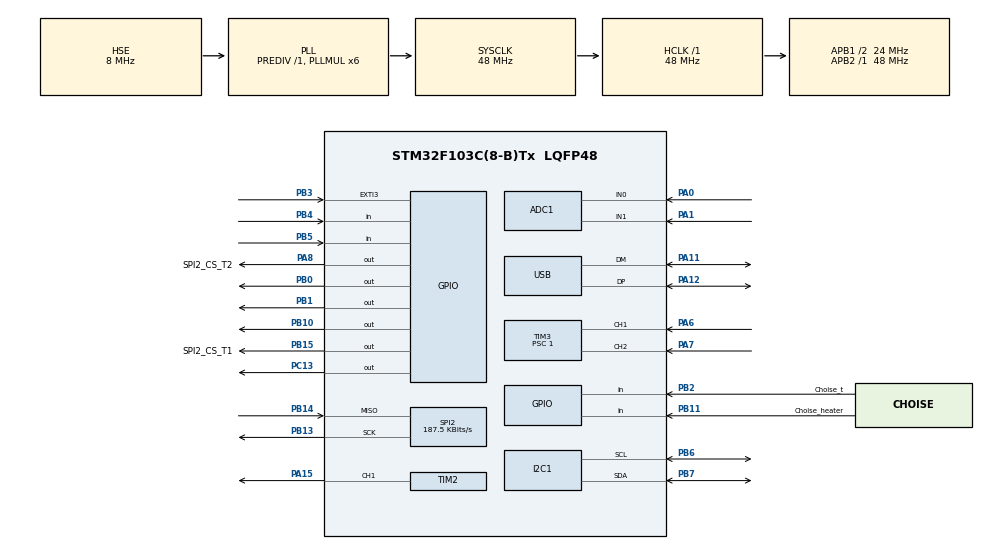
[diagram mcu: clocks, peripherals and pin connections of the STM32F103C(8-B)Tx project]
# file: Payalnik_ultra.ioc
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ADC1.Channel-0\#ChannelRegularConversion=ADC_CHANNEL_0
ADC1.Channel-1\#ChannelRegularConversion=ADC_CHANNEL_1
ADC1.ContinuousConvMode=ENABLE
ADC1.DataAlign=ADC_DATAALIGN_RIGHT
ADC1.DiscontinuousConvMode=DISABLE
ADC1.EnableAnalogWatchDog=false
ADC1.EnableRegularConversion=ENABLE
ADC1.ExternalTrigConv=ADC_SOFTWARE_START
ADC1.InjNumberOfConversion=0
ADC1.NbrOfConversion=2
ADC1.NbrOfConversionFlag=1
ADC1.Rank-0\#ChannelRegularConversion=1
ADC1.Rank-1\#ChannelRegularConversion=2
ADC1.SamplingTime-0\#ChannelRegularConversion=ADC_SAMPLETIME_71CYCLES_5
ADC1.SamplingTime-1\#ChannelRegularConversion=ADC_SAMPLETIME_71CYCLES_5
ADC1.ScanConvMode=ADC_SCAN_ENABLE
ADC1.master=1
Dma.ADC1.0.Direction=DMA_PERIPH_TO_MEMORY
Dma.ADC1.0.Instance=DMA1_Channel1
Dma.ADC1.0.MemDataAlignment=DMA_MDATAALIGN_HALFWORD
Dma.ADC1.0.MemInc=DMA_MINC_ENABLE
Dma.ADC1.0.Mode=DMA_NORMAL
Dma.ADC1.0.PeriphDataAlignment=DMA_PDATAALIGN_HALFWORD
Dma.ADC1.0.PeriphInc=DMA_PINC_DISABLE
Dma.ADC1.0.Priority=DMA_PRIORITY_LOW
Dma.Request0=ADC1
I2C1.I2C_Mode=I2C_Fast
I2C1.OwnAddress=22
IWDG.Prescaler=IWDG_PRESCALER_16
Mcu.Family=STM32F1
Mcu.Name=STM32F103C(8-B)Tx
Mcu.Package=LQFP48
NVIC.DMA1_Channel1_IRQn=true\:0\:0\:false\:false\:true\:false\:true
NVIC.PriorityGroup=NVIC_PRIORITYGROUP_4
NVIC.TIM2_IRQn=true\:0\:0\:false\:false\:true\:true\:true
NVIC.USB_LP_CAN1_RX0_IRQn=true\:0\:0\:false\:false\:true\:false\:true
PA0-WKUP.Signal=ADCx_IN0
PA1.Signal=ADCx_IN1
PA11.Mode=Device
PA11.Signal=USB_DM
PA12.Mode=Device
PA12.Signal=USB_DP
PA13.Mode=Serial_Wire
PA13.Signal=SYS_JTMS-SWDIO
PA14.Mode=Serial_Wire
PA14.Signal=SYS_JTCK-SWCLK
PA15.Signal=S_TIM2_CH1_ETR
PA6.Signal=S_TIM3_CH1
PA7.Signal=S_TIM3_CH2
PA8.GPIO_Label=SPI2_CS_T2
PA8.Signal=GPIO_Output
PB0.GPIO_Speed=GPIO_SPEED_FREQ_HIGH
PB0.Signal=GPIO_Output
PB1.GPIO_Speed=GPIO_SPEED_FREQ_HIGH
PB1.Signal=GPIO_Output
PB10.Signal=GPIO_Output
PB11.GPIO_Label=Choise_heater
PB11.Signal=GPIO_Input
PB13.Mode=RX_Only_Simplex_Unidirect_Master
PB13.Signal=SPI2_SCK
PB14.Mode=RX_Only_Simplex_Unidirect_Master
PB14.Signal=SPI2_MISO
PB15.GPIO_Label=SPI2_CS_T1
PB15.Signal=GPIO_Output
PB2.GPIO_Label=Choise_t
PB2.Signal=GPIO_Input
PB3.Signal=GPXTI3
PB4.Signal=GPIO_Input
PB5.Signal=GPIO_Input
PB6.Mode=I2C
PB6.Signal=I2C1_SCL
PB7.Mode=I2C
PB7.Signal=I2C1_SDA
PC13-TAMPER-RTC.Signal=GPIO_Output
PD0-OSC_IN.Mode=HSE-External-Oscillator
PD0-OSC_IN.Signal=RCC_OSC_IN
PD1-OSC_OUT.Mode=HSE-External-Oscillator
PD1-OSC_OUT.Signal=RCC_OSC_OUT
ProjectManager.HeapSize=0x200
ProjectManager.StackSize=0x400
ProjectManager.TargetToolchain=EWARM V7
RCC.ADCPresc=RCC_ADCPCLK2_DIV4
RCC.AHBFreq_Value=48000000
RCC.APB1CLKDivider=RCC_HCLK_DIV2
RCC.APB1Freq_Value=24000000
RCC.APB1TimFreq_Value=48000000
RCC.APB2Freq_Value=48000000
RCC.APB2TimFreq_Value=48000000
RCC.HCLKFreq_Value=48000000
RCC.PLLMUL=RCC_PLL_MUL6
RCC.PLLSourceVirtual=RCC_PLLSOURCE_HSE
RCC.SYSCLKFreq_VALUE=48000000
RCC.SYSCLKSource=RCC_SYSCLKSOURCE_PLLCLK
RCC.USBFreq_Value=48000000
SH.ADCx_IN0.0=ADC1_IN0,IN0
SH.ADCx_IN1.0=ADC1_IN1,IN1
SH.S_TIM2_CH1_ETR.0=TIM2_CH1,PWM Generation1 CH1
SH.S_TIM3_CH1.0=TIM3_CH1,Encoder_Interface
SH.S_TIM3_CH2.0=TIM3_CH2,Encoder_Interface
SPI2.BaudRatePrescaler=SPI_BAUDRATEPRESCALER_128
SPI2.CalculateBaudRate=187.5 KBits/s
SPI2.DataSize=SPI_DATASIZE_16BIT
SPI2.Direction=SPI_DIRECTION_2LINES_RXONLY
SPI2.Mode=SPI_MODE_MASTER
SPI2.VirtualType=VM_MASTER
TIM2.Channel-PWM\ Generation1\ CH1=TIM_CHANNEL_1
TIM2.Period=999
TIM2.Prescaler=470
TIM2.Pulse-PWM\ Generation1\ CH1=50
TIM3.IC1Filter=15
TIM3.IC2Filter=15
TIM3.Period=999
TIM3.Prescaler=1
USB_DEVICE.CLASS_NAME_FS=CDC
USB_DEVICE.VirtualMode=Cdc
USB_DEVICE.VirtualModeFS=Cdc_FS
VP_IWDG_VS_IWDG.Mode=IWDG_Activate
VP_TIM2_VS_ClockSourceINT.Mode=Internal
VP_USB_DEVICE_VS_USB_DEVICE_CDC_FS.Mode=CDC_FS
board=custom

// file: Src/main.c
/* USER CODE BEGIN Header */
/**
  ******************************************************************************
  * @file           : main.c
  * @brief          : Main program body
  ******************************************************************************
  * @attention
  *
  * <h2><center>&copy; Copyright (c) 2022 STMicroelectronics.
  * All rights reserved.</center></h2>
  *
  * This software component is licensed by ST under Ultimate Liberty license
  * SLA0044, the "License"; You may not use this file except in compliance with
  * the License. You may obtain a copy of the License at:
  *                             www.st.com/SLA0044
  *
  ******************************************************************************
  */
/* USER CODE END Header */
#include "main.h"
#include "usb_device.h"

/* USER CODE BEGIN Includes */
//#include "ssd1306.h"
#include "sh1106.h"
#include "MAX31855.h"
/* USER CODE END Includes */

ADC_HandleTypeDef hadc1;
DMA_HandleTypeDef hdma_adc1;

I2C_HandleTypeDef hi2c1;

IWDG_HandleTypeDef hiwdg;

SPI_HandleTypeDef hspi2;

TIM_HandleTypeDef htim2;
TIM_HandleTypeDef htim3;

/* USER CODE BEGIN PV */
/* Private variables ---------------------------------------------------------*/

/* USER CODE END PV */

void SystemClock_Config(void);
static void MX_GPIO_Init(void);
static void MX_DMA_Init(void);
static void MX_ADC1_Init(void);
static void MX_I2C1_Init(void);
static void MX_TIM3_Init(void);
static void MX_TIM2_Init(void);
static void MX_SPI2_Init(void);
static void MX_IWDG_Init(void);
/* USER CODE BEGIN PFP */
void TIM2_IRQHandler(void);
void Breizinheim(void);

/* USER CODE END PFP */

/* USER CODE BEGIN 0 */
void screen10(void);
void screen1(void);
void screen2(void);
void screen3(void);
char R[10]="Ch323";
uint16_t EncoderVal,y1,y2,target1=200,target2,choise_enc;
char Char_RX[64]="Ch323\r\n";
char Char_TX[64];

volatile uint16_t dma[2];
volatile int16_t adc[2];
uint8_t i,P1=4,I1=2,D1=1,P2=0,I2=0,D2=0,X1,X2,x_1,x_2,Blynk=0,flash_flag=0,flag=1,Button=0,choise_en=1,choise=0,choise_h=0,choise_t=0;
int16_t errorsold1[256];
int16_t  Error1;
int16_t errorsold2[256];
int16_t  Error2;
int32_t regD2=0,regD1=0,regP2=0,regP1=0,regI1=0,regI2=0,PID1,PID2;
uint8_t Buf[4];
MAX31855_Sensor termocoupe_up, termocoupe_down;

void  HAL_ADC_ConvCpltCallback(ADC_HandleTypeDef* hadc)
  {
    adc[0]=dma[0]/10-50;
    adc[1]=dma[1]/10-50;

    HAL_ADC_Stop_DMA(&hadc1);
  }
/* USER CODE END 0 */

int main(void)
{

  /* MCU Configuration--------------------------------------------------------*/

  /* Reset of all peripherals, Initializes the Flash interface and the Systick. */
  HAL_Init();

  /* Configure the system clock */
  SystemClock_Config();

  /* Initialize all configured peripherals */
  MX_GPIO_Init();
  MX_DMA_Init();
  MX_ADC1_Init();
  MX_I2C1_Init();
  MX_TIM3_Init();
  MX_TIM2_Init();
  MX_USB_DEVICE_Init();
  MX_SPI2_Init();
  MX_IWDG_Init();
  /* USER CODE BEGIN 2 */
  ssd1306_Init();
  HAL_TIM_Encoder_Start(&htim3,TIM_CHANNEL_ALL);
  HAL_TIM_PWM_Start(&htim2,TIM_CHANNEL_ALL);
  HAL_GPIO_WritePin(SPI2_CS_T1_GPIO_Port,SPI2_CS_T1_Pin,GPIO_PIN_SET);
  HAL_GPIO_WritePin(SPI2_CS_T2_GPIO_Port,SPI2_CS_T2_Pin,GPIO_PIN_SET);
  //NVIC_EnableIRQ(TIM2_IRQn);
  uint32_t oldtimeB=HAL_GetTick();
  uint32_t oldtimeA=HAL_GetTick();

  //----------Horse---------------
  startScreen();
  ssd1306_Fill(Black);
  ssd1306_SetCursor(32,16);
  startScreen();
  ssd1306_Fill(Black);
  ssd1306_SetCursor(64,32);
  startScreen();
  ssd1306_Fill(Black);
  ssd1306_SetCursor(96,16);
  startScreen();

  uint32_t set1,set2,set3,set4,flash_ret;
  uint8_t iter;
  //-------read from flash--------
  FLASH_EraseInitTypeDef Erase;
  set1=*(__IO uint32_t*)User_Page_Adress;    //4 adresa
  set3=*(__IO uint32_t*)User_Page_Adress4;    //4 adresa
  set4=*(__IO uint32_t*)User_Page_Adress8;    //4 adresa
  target1=set1;
  target2=set1>>16;
  if (target1>1000){target1=100;}
  if (target2>1000){target2=100;}
  P1=set3;
  I1=set3>>8;
  D1=set3>>16;
  P2=set4;
  I2=set4>>8;
  D2=set4>>16;

  /* USER CODE END 2 */

  /* Infinite loop */
  /* USER CODE BEGIN WHILE */
  while (1)
  {
          //----------Every scan---------------

    EncoderVal=__HAL_TIM_GET_COUNTER(&htim3);
    if (HAL_GPIO_ReadPin(Choise_heater_GPIO_Port,Choise_heater_Pin)==GPIO_PIN_RESET)
    {
      choise_h=0;
    }else{
      choise_h=1;
    }
    if (HAL_GPIO_ReadPin(Choise_t_GPIO_Port,Choise_t_Pin)==GPIO_PIN_RESET)
    {
      choise_t=0;
    }else{
      choise_t=1;
    }

    //--------------Blynk-------------
    if (HAL_GetTick()>(oldtimeA+200))
    {
      HAL_IWDG_Refresh(&hiwdg);
      oldtimeA=HAL_GetTick();
      Blynk=~Blynk&0x01;
      if (HAL_GPIO_ReadPin(GPIOB,GPIO_PIN_4)==GPIO_PIN_RESET)
      {
        Button=1;
      }else
      {
        Button=0;
      }
         for (iter=0; iter<58; iter++)
      {
         if ((Char_RX[iter]=='C')&&(Char_RX[iter+1]=='h')&&(Char_RX[iter+2]=='5'))
        {
          target1=((Char_RX[iter+4]<<8)&0xFF00)|Char_RX[iter+3];
          if (target1>1000){target1=100;}
        }
         if ((Char_RX[iter]=='C')&&(Char_RX[iter+1]=='h')&&(Char_RX[iter+2]=='6'))
        {
          target2=((Char_RX[iter+4]<<8)&0xFF00)|Char_RX[iter+3];
          if (target2>1000){target2=100;}
        }
        if ((Char_RX[iter]=='C')&&(Char_RX[iter+1]=='h')&&(Char_RX[iter+2]=='7'))
        {
          if (Char_RX[iter+3]=='3'){flag=3;}
          if ((Char_RX[iter+3]=='2')&&(flag==3)){Button=1;}
        }
      }

      //-------------screen choise-------------
     switch(flag){
     case 1:

       screen1();
     break;
     case 2:
       screen2();
     break;
     case 3:
       screen3();
     break;
     case 10:
       screen10();
     break;
     }

    }

    //---------------startuem---------------
    /*
    if ((flag==3)&&(Button==0))
    {

    }
    */
    if ((flag==3)&&(Button==1)){
        flag=1;
        Button=0;
        NVIC_DisableIRQ(EXTI3_IRQn);  //external interrupt enable
        //HAL_TIM_Base_Stop_IT(&htim2);
        HAL_GPIO_WritePin(GPIOB,GPIO_PIN_13, GPIO_PIN_RESET);
        HAL_GPIO_WritePin(GPIOB,GPIO_PIN_12, GPIO_PIN_RESET);
    }

    //-----------time_int PID+ADC+USB 500ms-------
    if (HAL_GetTick()>(oldtimeB+500))
    {
      oldtimeB=HAL_GetTick();
      //----pid1-----
      Error1=target1-adc[0];
      regI1=0;
      for (iter=0; iter<I1; iter++)
      {
        regI1=regI1+errorsold1[iter];
      }
      regP1=Error1*P1;  //???????????????? ?????
      regI1 = regI1 + Error1; // ???????????? ?????
      regD1=(Error1-errorsold1[0])*D1; //????????????????? ?????
      if (regD1<(-10000))
      {
        regD1=(-10000);
      }
      if (regD1>(10000))
      {
        regD1=(10000);
      }
      if (regI1<(-10000))
      {
        regI1=(-10000);
      }
      if (regI1>(10000))
      {
        regI1=(10000);
      }
      for (iter=254; iter>0; iter--)
      {
      errorsold1[iter+1]=errorsold1[iter];
      }
      errorsold1[0]=Error1;
      if (Error1!=0)    //???? ????? +-1
      {
        PID1=regP1+regI1+regD1;
        if (PID1<0)
        {
          X1=0;
        }
        if (PID1>=10000)
        {
          X1=100;
        }
        if((PID1>=0)&&(PID1<10000))
        {
          X1=PID1/100; //koeff moshnosti
        }
      }
      //----pid2-----
      Error2=target2-adc[1];
      regI2=0;
      for (iter=0; iter<I2; iter++)
      {
        regI2=regI2+errorsold2[iter];
      }
      regP2=Error2*P2;  //???????????????? ?????
      regI2 = regI2 + Error2; // ???????????? ?????
      regD2=(Error2-errorsold2[0])*D2; //????????????????? ?????
      if (regD2<(-10000))
      {
        regD2=(-10000);
      }
      if (regD2>(10000))
      {
        regD2=(10000);
      }
      if (regI2<(-10000))
      {
        regI2=(-10000);
      }
      if (regI2>(10000))
      {
        regI2=(10000);
      }
      for (iter=254; iter>0; iter--)
      {
      errorsold2[iter+1]=errorsold2[iter];
      }
      errorsold2[0]=Error2;
      if (Error2!=0) //???? ????? +-1
      {
        PID2=regP2+regI2+regD2;
        if (PID2<0)
        {
          X2=0;
        }
        if (PID2>=10000)
        {
          X2=100;
        }
        if((PID2>=0)&&(PID2<10000))
        {
          X2=PID2/100; //koeff moshnosti
        }

      }

      //----------DMA---------
      if (choise_t){
      HAL_ADC_Start_DMA(&hadc1,(uint32_t*)&dma,2);
      }else{

        HAL_GPIO_WritePin(SPI2_CS_T1_GPIO_Port,SPI2_CS_T1_Pin,GPIO_PIN_RESET);
        HAL_SPI_Receive(&hspi2,Buf,4,100);
        HAL_GPIO_WritePin(SPI2_CS_T1_GPIO_Port,SPI2_CS_T1_Pin,GPIO_PIN_SET);
        termocoupe_up.Buf=Buf;
        MAX31855_convert_buf(&termocoupe_up);
        HAL_GPIO_WritePin(SPI2_CS_T2_GPIO_Port,SPI2_CS_T2_Pin,GPIO_PIN_RESET);
        HAL_SPI_Receive(&hspi2,Buf,4,100);
        HAL_GPIO_WritePin(SPI2_CS_T2_GPIO_Port,SPI2_CS_T2_Pin,GPIO_PIN_SET);
        termocoupe_down.Buf=Buf;
        MAX31855_convert_buf(&termocoupe_down);
        if (termocoupe_up.OC|termocoupe_up.SCG|termocoupe_up.SCV)
        {
          adc[0]=500;
        }else{
          adc[0]=(int16_t)termocoupe_up.t_termocoupe;
        }
        if (termocoupe_down.OC|termocoupe_down.SCG|termocoupe_down.SCV)
        {
          adc[1]=500;
        }else{
          adc[1]=(int16_t)termocoupe_down.t_termocoupe;
        }

      }

    //  sprintf(Char_TX,"%s %d %s %d %s %d %s %d %s %d %s", "Up-" , adc[0], "Down-" , adc[1], "state" , flag, "setUp" , target1, "setD" , target2, "\r\n");
     // CDC_Transmit_FS(Char_TX, strlen(Char_TX));

    }

     //----flash_write---
    if (flash_flag==2)
    {

      set2=(D1<<16)&0x00FF0000;
      set3=set2;
      set2=(I1<<8)&0x0000FF00;
      set3|=set2;
      set2=P1&0xFF;
      set3|=set2;
      set2=(target2<<16)&0xFFFF0000;
      set1=set2;
      set2=target1;
      set1=set1|set2;
      set2=(D2<<16)&0x00FF0000;
      set4=set2;
      set2=(I2<<8)&0x0000FF00;
      set4|=set2;
      set2=P2&0xFF;
      set4|=set2;

      HAL_FLASH_Unlock();
      Erase.TypeErase=FLASH_TYPEERASE_PAGES;
      Erase.PageAddress=User_Page_Adress;
      Erase.NbPages=1;
      HAL_FLASHEx_Erase(&Erase,&flash_ret);
      HAL_FLASH_Program(FLASH_TYPEPROGRAM_WORD ,User_Page_Adress,set1);
      HAL_FLASH_Program(FLASH_TYPEPROGRAM_WORD ,User_Page_Adress4,set3);
      HAL_FLASH_Program(FLASH_TYPEPROGRAM_WORD ,User_Page_Adress8,set4);
      HAL_FLASH_Lock();
      flash_flag=0;

    }

    /* USER CODE END WHILE */

  }
}

void SystemClock_Config(void)
{
  RCC_OscInitTypeDef RCC_OscInitStruct = {0};
  RCC_ClkInitTypeDef RCC_ClkInitStruct = {0};
  RCC_PeriphCLKInitTypeDef PeriphClkInit = {0};

  /** Initializes the RCC Oscillators according to the specified parameters
  * in the RCC_OscInitTypeDef structure.
  */
  RCC_OscInitStruct.OscillatorType = RCC_OSCILLATORTYPE_LSI|RCC_OSCILLATORTYPE_HSE;
  RCC_OscInitStruct.HSEState = RCC_HSE_ON;
  RCC_OscInitStruct.HSEPredivValue = RCC_HSE_PREDIV_DIV1;
  RCC_OscInitStruct.HSIState = RCC_HSI_ON;
  RCC_OscInitStruct.LSIState = RCC_LSI_ON;
  RCC_OscInitStruct.PLL.PLLState = RCC_PLL_ON;
  RCC_OscInitStruct.PLL.PLLSource = RCC_PLLSOURCE_HSE;
  RCC_OscInitStruct.PLL.PLLMUL = RCC_PLL_MUL6;
  if (HAL_RCC_OscConfig(&RCC_OscInitStruct) != HAL_OK)
  {
    Error_Handler();
  }
  /** Initializes the CPU, AHB and APB buses clocks
  */
  RCC_ClkInitStruct.ClockType = RCC_CLOCKTYPE_HCLK|RCC_CLOCKTYPE_SYSCLK
                              |RCC_CLOCKTYPE_PCLK1|RCC_CLOCKTYPE_PCLK2;
  RCC_ClkInitStruct.SYSCLKSource = RCC_SYSCLKSOURCE_PLLCLK;
  RCC_ClkInitStruct.AHBCLKDivider = RCC_SYSCLK_DIV1;
  RCC_ClkInitStruct.APB1CLKDivider = RCC_HCLK_DIV2;
  RCC_ClkInitStruct.APB2CLKDivider = RCC_HCLK_DIV1;

  if (HAL_RCC_ClockConfig(&RCC_ClkInitStruct, FLASH_LATENCY_1) != HAL_OK)
  {
    Error_Handler();
  }
  PeriphClkInit.PeriphClockSelection = RCC_PERIPHCLK_ADC|RCC_PERIPHCLK_USB;
  PeriphClkInit.AdcClockSelection = RCC_ADCPCLK2_DIV4;
  PeriphClkInit.UsbClockSelection = RCC_USBCLKSOURCE_PLL;
  if (HAL_RCCEx_PeriphCLKConfig(&PeriphClkInit) != HAL_OK)
  {
    Error_Handler();
  }
}

static void MX_ADC1_Init(void)
{

  ADC_ChannelConfTypeDef sConfig = {0};

  /** Common config
  */
  hadc1.Instance = ADC1;
  hadc1.Init.ScanConvMode = ADC_SCAN_ENABLE;
  hadc1.Init.ContinuousConvMode = ENABLE;
  hadc1.Init.DiscontinuousConvMode = DISABLE;
  hadc1.Init.ExternalTrigConv = ADC_SOFTWARE_START;
  hadc1.Init.DataAlign = ADC_DATAALIGN_RIGHT;
  hadc1.Init.NbrOfConversion = 2;
  if (HAL_ADC_Init(&hadc1) != HAL_OK)
  {
    Error_Handler();
  }
  /** Configure Regular Channel
  */
  sConfig.Channel = ADC_CHANNEL_0;
  sConfig.Rank = ADC_REGULAR_RANK_1;
  sConfig.SamplingTime = ADC_SAMPLETIME_71CYCLES_5;
  if (HAL_ADC_ConfigChannel(&hadc1, &sConfig) != HAL_OK)
  {
    Error_Handler();
  }
  /** Configure Regular Channel
  */
  sConfig.Channel = ADC_CHANNEL_1;
  sConfig.Rank = ADC_REGULAR_RANK_2;
  if (HAL_ADC_ConfigChannel(&hadc1, &sConfig) != HAL_OK)
  {
    Error_Handler();
  }

}

static void MX_I2C1_Init(void)
{

  hi2c1.Instance = I2C1;
  hi2c1.Init.ClockSpeed = 400000;
  hi2c1.Init.DutyCycle = I2C_DUTYCYCLE_2;
  hi2c1.Init.OwnAddress1 = 44;
  hi2c1.Init.AddressingMode = I2C_ADDRESSINGMODE_7BIT;
  hi2c1.Init.DualAddressMode = I2C_DUALADDRESS_DISABLE;
  hi2c1.Init.OwnAddress2 = 0;
  hi2c1.Init.GeneralCallMode = I2C_GENERALCALL_DISABLE;
  hi2c1.Init.NoStretchMode = I2C_NOSTRETCH_DISABLE;
  if (HAL_I2C_Init(&hi2c1) != HAL_OK)
  {
    Error_Handler();
  }

}

static void MX_IWDG_Init(void)
{

  hiwdg.Instance = IWDG;
  hiwdg.Init.Prescaler = IWDG_PRESCALER_16;
  hiwdg.Init.Reload = 4095;
  if (HAL_IWDG_Init(&hiwdg) != HAL_OK)
  {
    Error_Handler();
  }

}

static void MX_SPI2_Init(void)
{

  /* SPI2 parameter configuration*/
  hspi2.Instance = SPI2;
  hspi2.Init.Mode = SPI_MODE_MASTER;
  hspi2.Init.Direction = SPI_DIRECTION_2LINES_RXONLY;
  hspi2.Init.DataSize = SPI_DATASIZE_16BIT;
  hspi2.Init.CLKPolarity = SPI_POLARITY_LOW;
  hspi2.Init.CLKPhase = SPI_PHASE_1EDGE;
  hspi2.Init.NSS = SPI_NSS_SOFT;
  hspi2.Init.BaudRatePrescaler = SPI_BAUDRATEPRESCALER_128;
  hspi2.Init.FirstBit = SPI_FIRSTBIT_MSB;
  hspi2.Init.TIMode = SPI_TIMODE_DISABLE;
  hspi2.Init.CRCCalculation = SPI_CRCCALCULATION_DISABLE;
  hspi2.Init.CRCPolynomial = 10;
  if (HAL_SPI_Init(&hspi2) != HAL_OK)
  {
    Error_Handler();
  }

}

static void MX_TIM2_Init(void)
{

  TIM_ClockConfigTypeDef sClockSourceConfig = {0};
  TIM_MasterConfigTypeDef sMasterConfig = {0};
  TIM_OC_InitTypeDef sConfigOC = {0};

  htim2.Instance = TIM2;
  htim2.Init.Prescaler = 470;
  htim2.Init.CounterMode = TIM_COUNTERMODE_UP;
  htim2.Init.Period = 999;
  htim2.Init.ClockDivision = TIM_CLOCKDIVISION_DIV1;
  htim2.Init.AutoReloadPreload = TIM_AUTORELOAD_PRELOAD_DISABLE;
  if (HAL_TIM_Base_Init(&htim2) != HAL_OK)
  {
    Error_Handler();
  }
  sClockSourceConfig.ClockSource = TIM_CLOCKSOURCE_INTERNAL;
  if (HAL_TIM_ConfigClockSource(&htim2, &sClockSourceConfig) != HAL_OK)
  {
    Error_Handler();
  }
  if (HAL_TIM_PWM_Init(&htim2) != HAL_OK)
  {
    Error_Handler();
  }
  sMasterConfig.MasterOutputTrigger = TIM_TRGO_RESET;
  sMasterConfig.MasterSlaveMode = TIM_MASTERSLAVEMODE_DISABLE;
  if (HAL_TIMEx_MasterConfigSynchronization(&htim2, &sMasterConfig) != HAL_OK)
  {
    Error_Handler();
  }
  sConfigOC.OCMode = TIM_OCMODE_PWM1;
  sConfigOC.Pulse = 50;
  sConfigOC.OCPolarity = TIM_OCPOLARITY_HIGH;
  sConfigOC.OCFastMode = TIM_OCFAST_DISABLE;
  if (HAL_TIM_PWM_ConfigChannel(&htim2, &sConfigOC, TIM_CHANNEL_1) != HAL_OK)
  {
    Error_Handler();
  }
  HAL_TIM_MspPostInit(&htim2);

}

static void MX_TIM3_Init(void)
{

  TIM_Encoder_InitTypeDef sConfig = {0};
  TIM_MasterConfigTypeDef sMasterConfig = {0};

  htim3.Instance = TIM3;
  htim3.Init.Prescaler = 1;
  htim3.Init.CounterMode = TIM_COUNTERMODE_UP;
  htim3.Init.Period = 999;
  htim3.Init.ClockDivision = TIM_CLOCKDIVISION_DIV1;
  htim3.Init.AutoReloadPreload = TIM_AUTORELOAD_PRELOAD_DISABLE;
  sConfig.EncoderMode = TIM_ENCODERMODE_TI1;
  sConfig.IC1Polarity = TIM_ICPOLARITY_RISING;
  sConfig.IC1Selection = TIM_ICSELECTION_DIRECTTI;
  sConfig.IC1Prescaler = TIM_ICPSC_DIV1;
  sConfig.IC1Filter = 15;
  sConfig.IC2Polarity = TIM_ICPOLARITY_RISING;
  sConfig.IC2Selection = TIM_ICSELECTION_DIRECTTI;
  sConfig.IC2Prescaler = TIM_ICPSC_DIV1;
  sConfig.IC2Filter = 15;
  if (HAL_TIM_Encoder_Init(&htim3, &sConfig) != HAL_OK)
  {
    Error_Handler();
  }
  sMasterConfig.MasterOutputTrigger = TIM_TRGO_RESET;
  sMasterConfig.MasterSlaveMode = TIM_MASTERSLAVEMODE_DISABLE;
  if (HAL_TIMEx_MasterConfigSynchronization(&htim3, &sMasterConfig) != HAL_OK)
  {
    Error_Handler();
  }

}

static void MX_DMA_Init(void)
{

  /* DMA controller clock enable */
  __HAL_RCC_DMA1_CLK_ENABLE();

  /* DMA interrupt init */
  /* DMA1_Channel1_IRQn interrupt configuration */
  HAL_NVIC_SetPriority(DMA1_Channel1_IRQn, 0, 0);
  HAL_NVIC_EnableIRQ(DMA1_Channel1_IRQn);

}

static void MX_GPIO_Init(void)
{
  GPIO_InitTypeDef GPIO_InitStruct = {0};

  /* GPIO Ports Clock Enable */
  __HAL_RCC_GPIOC_CLK_ENABLE();
  __HAL_RCC_GPIOD_CLK_ENABLE();
  __HAL_RCC_GPIOA_CLK_ENABLE();
  __HAL_RCC_GPIOB_CLK_ENABLE();

  /*Configure GPIO pin Output Level */
  HAL_GPIO_WritePin(GPIOC, GPIO_PIN_13, GPIO_PIN_RESET);

  /*Configure GPIO pin Output Level */
  HAL_GPIO_WritePin(GPIOB, GPIO_PIN_0|GPIO_PIN_1|GPIO_PIN_10|SPI2_CS_T1_Pin, GPIO_PIN_RESET);

  /*Configure GPIO pin Output Level */
  HAL_GPIO_WritePin(SPI2_CS_T2_GPIO_Port, SPI2_CS_T2_Pin, GPIO_PIN_RESET);

  /*Configure GPIO pin : PC13 */
  GPIO_InitStruct.Pin = GPIO_PIN_13;
  GPIO_InitStruct.Mode = GPIO_MODE_OUTPUT_PP;
  GPIO_InitStruct.Pull = GPIO_NOPULL;
  GPIO_InitStruct.Speed = GPIO_SPEED_FREQ_LOW;
  HAL_GPIO_Init(GPIOC, &GPIO_InitStruct);

  /*Configure GPIO pins : PC14 PC15 */
  GPIO_InitStruct.Pin = GPIO_PIN_14|GPIO_PIN_15;
  GPIO_InitStruct.Mode = GPIO_MODE_ANALOG;
  HAL_GPIO_Init(GPIOC, &GPIO_InitStruct);

  /*Configure GPIO pins : PA2 PA3 PA4 PA5
                           PA9 PA10 */
  GPIO_InitStruct.Pin = GPIO_PIN_2|GPIO_PIN_3|GPIO_PIN_4|GPIO_PIN_5
                          |GPIO_PIN_9|GPIO_PIN_10;
  GPIO_InitStruct.Mode = GPIO_MODE_ANALOG;
  HAL_GPIO_Init(GPIOA, &GPIO_InitStruct);

  /*Configure GPIO pins : PB0 PB1 */
  GPIO_InitStruct.Pin = GPIO_PIN_0|GPIO_PIN_1;
  GPIO_InitStruct.Mode = GPIO_MODE_OUTPUT_PP;
  GPIO_InitStruct.Pull = GPIO_NOPULL;
  GPIO_InitStruct.Speed = GPIO_SPEED_FREQ_HIGH;
  HAL_GPIO_Init(GPIOB, &GPIO_InitStruct);

  /*Configure GPIO pins : Choise_t_Pin Choise_heater_Pin PB4 PB5 */
  GPIO_InitStruct.Pin = Choise_t_Pin|Choise_heater_Pin|GPIO_PIN_4|GPIO_PIN_5;
  GPIO_InitStruct.Mode = GPIO_MODE_INPUT;
  GPIO_InitStruct.Pull = GPIO_NOPULL;
  HAL_GPIO_Init(GPIOB, &GPIO_InitStruct);

  /*Configure GPIO pins : PB10 SPI2_CS_T1_Pin */
  GPIO_InitStruct.Pin = GPIO_PIN_10|SPI2_CS_T1_Pin;
  GPIO_InitStruct.Mode = GPIO_MODE_OUTPUT_PP;
  GPIO_InitStruct.Pull = GPIO_NOPULL;
  GPIO_InitStruct.Speed = GPIO_SPEED_FREQ_LOW;
  HAL_GPIO_Init(GPIOB, &GPIO_InitStruct);

  /*Configure GPIO pins : PB12 PB8 PB9 */
  GPIO_InitStruct.Pin = GPIO_PIN_12|GPIO_PIN_8|GPIO_PIN_9;
  GPIO_InitStruct.Mode = GPIO_MODE_ANALOG;
  HAL_GPIO_Init(GPIOB, &GPIO_InitStruct);

  /*Configure GPIO pin : SPI2_CS_T2_Pin */
  GPIO_InitStruct.Pin = SPI2_CS_T2_Pin;
  GPIO_InitStruct.Mode = GPIO_MODE_OUTPUT_PP;
  GPIO_InitStruct.Pull = GPIO_NOPULL;
  GPIO_InitStruct.Speed = GPIO_SPEED_FREQ_LOW;
  HAL_GPIO_Init(SPI2_CS_T2_GPIO_Port, &GPIO_InitStruct);

  /*Configure GPIO pin : PB3 */
  GPIO_InitStruct.Pin = GPIO_PIN_3;
  GPIO_InitStruct.Mode = GPIO_MODE_IT_RISING;
  GPIO_InitStruct.Pull = GPIO_NOPULL;
  HAL_GPIO_Init(GPIOB, &GPIO_InitStruct);

}

/* USER CODE BEGIN 4 */
//-------------------------screen1 MAIN------------------------
void screen1()
{
  if (choise_en==1){
    choise_enc=EncoderVal;
  }
  ssd1306_Fill(Black);
  ssd1306_SetCursor(0,4);
  ssd1306_WriteString("  Up T:", Font_7x10, White);
  sprintf(R,"%d",target1);
  ssd1306_SetCursor(49,0);
  if (choise_enc%5==1)
  {
    ssd1306_WriteString(R, Font_11x18, Blynk);
    if ((Button==1)&&(choise_en==1))
    {
      choise_en=0;
      Button=0;
      __HAL_TIM_SET_COUNTER(&htim3,target1);
    }
    if (choise_en==0)
    {
      target1=EncoderVal;
      if (Button==1)
      {
        choise_en=1;
        Button=0;
        __HAL_TIM_SET_COUNTER(&htim3,0);
        flash_flag=2;
      }
    }
  } else {
    ssd1306_WriteString(R, Font_11x18, White);
  }
  ssd1306_SetCursor(90,0);
  if (choise_t){
    ssd1306_WriteString("ADC", Font_7x10, White);
  }else{
    ssd1306_WriteString("Digit", Font_7x10, White);
  }
  ssd1306_SetCursor(0,26);
  ssd1306_WriteString("Down T:", Font_7x10, White);
  ssd1306_SetCursor(49,22);
  sprintf(R,"%d",target2);
    if (choise_enc%5==2)
  {
    ssd1306_WriteString(R, Font_11x18, Blynk);
    if ((Button==1)&&(choise_en==1))
    {
      choise_en=0;
      Button=0;
      __HAL_TIM_SET_COUNTER(&htim3,target2);
    }
    if (choise_en==0)
    {
      target2=EncoderVal;
      if (Button==1)
      {
        choise_en=1;
        Button=0;
        __HAL_TIM_SET_COUNTER(&htim3,0);
        flash_flag=2;
      }
    }
  } else {
    ssd1306_WriteString(R, Font_11x18, White);
  }

  ssd1306_SetCursor(0,52);
    if (choise_enc%5==3)
  {
    ssd1306_WriteString("PID", Font_7x10, Blynk);
    if (Button==1)
    {
        Button=0;
        __HAL_TIM_SET_COUNTER(&htim3,P1);
        flag=2;
        choise=0;
    }

  } else {
    ssd1306_WriteString("PID", Font_7x10, White);
  }

  ssd1306_SetCursor(30,44);
  if (choise_enc%5==4)
  {
    ssd1306_WriteString("Start", Font_11x18, Blynk);
    if (Button==1)
    {
      flag=3;
      Button=0;
      NVIC_EnableIRQ(EXTI3_IRQn);  //external interrupt enable
    }

  } else {
    ssd1306_WriteString("Start", Font_11x18, White);
  }

  ssd1306_UpdateScreen();

}

//-------------------------screen2 PID------------------------
void screen2()
{
  if (Button){
    choise++;
    Button=0;
    if (choise==1){__HAL_TIM_SET_COUNTER(&htim3,I1);}
    if (choise==2){__HAL_TIM_SET_COUNTER(&htim3,D1);}
    if (choise==3){__HAL_TIM_SET_COUNTER(&htim3,P2);}
    if (choise==4){__HAL_TIM_SET_COUNTER(&htim3,I2);}
    if (choise==5){__HAL_TIM_SET_COUNTER(&htim3,D2);}
    if (choise==6){ flag=1; flash_flag=2;}
  }
  ssd1306_Fill(Black);
  ssd1306_SetCursor(0,0);
  ssd1306_WriteString("PID 1:", Font_7x10, White);
  ssd1306_SetCursor(64,0);
  ssd1306_WriteString("PID 2:", Font_7x10, White);
  ssd1306_SetCursor(0,20);
  ssd1306_WriteString("P1-", Font_7x10, White);
  ssd1306_SetCursor(64,20);
  ssd1306_WriteString("P2-", Font_7x10, White);
  ssd1306_SetCursor(0,34);
  ssd1306_WriteString("I1-", Font_7x10, White);
  ssd1306_SetCursor(64,34);
  ssd1306_WriteString("I2-", Font_7x10, White);
  ssd1306_SetCursor(0,48);
  ssd1306_WriteString("D1-", Font_7x10, White);
  ssd1306_SetCursor(64,48);
  ssd1306_WriteString("D2-", Font_7x10, White);
  ssd1306_SetCursor(21,20);
  sprintf(R,"%d",P1);

  if (choise==0)
  {
    P1=EncoderVal;
    ssd1306_WriteString(R, Font_7x10, Blynk);
  } else {
    ssd1306_WriteString(R, Font_7x10, White);
  }
  ssd1306_SetCursor(85,20);
  sprintf(R,"%d",P2);
  if (choise==3)
  {
    P2=EncoderVal;
    ssd1306_WriteString(R, Font_7x10, Blynk);
  } else {
    ssd1306_WriteString(R, Font_7x10, White);
  }
  ssd1306_SetCursor(21,34);
  sprintf(R,"%d",I1);
  if (choise==1)
  {
    I1=EncoderVal;
    ssd1306_WriteString(R, Font_7x10, Blynk);
  } else {
    ssd1306_WriteString(R, Font_7x10, White);
  }
  ssd1306_SetCursor(85,34);
  sprintf(R,"%d",I2);
  if (choise==4)
  {
    I2=EncoderVal;
    ssd1306_WriteString(R, Font_7x10, Blynk);
  } else {
    ssd1306_WriteString(R, Font_7x10, White);
  }
  ssd1306_SetCursor(21,48);
  sprintf(R,"%d",D1);
  if (choise==2)
  {
    D1=EncoderVal;
    ssd1306_WriteString(R, Font_7x10, Blynk);
  } else {
    ssd1306_WriteString(R, Font_7x10, White);
  }
  ssd1306_SetCursor(85,48);
  sprintf(R,"%d",D2);
  if (choise==5)
  {
    D2=EncoderVal;
    ssd1306_WriteString(R, Font_7x10, Blynk);
  } else {
    ssd1306_WriteString(R, Font_7x10, White);
  }

  ssd1306_UpdateScreen();

}

//-------------------------screen3 work------------------------
void screen3()
{

  ssd1306_Fill(Black);
  ssd1306_SetCursor(0,0);
  ssd1306_WriteString("Set:", Font_7x10, White);
  ssd1306_SetCursor(63,0);
  ssd1306_WriteString("Up", Font_7x10, White);
  ssd1306_SetCursor(80,0);
  sprintf(R,"%d%s",X1,"%");
  ssd1306_WriteString(R, Font_7x10, White);

  ssd1306_SetCursor(0,15);
  ssd1306_WriteString("Cur:", Font_7x10, White);
  ssd1306_SetCursor(0,33);
  ssd1306_WriteString("Set:", Font_7x10, White);
  ssd1306_SetCursor(63,33);
  ssd1306_WriteString("Down", Font_7x10, White);
  ssd1306_SetCursor(94,33);
  sprintf(R,"%d%s",X2,"%");
  ssd1306_WriteString(R, Font_7x10, White);

  ssd1306_SetCursor(0,49);
  ssd1306_WriteString("Cur:", Font_7x10, White);

  sprintf(R,"%d",target1);
  ssd1306_SetCursor(28,0);
  ssd1306_WriteString(R, Font_7x10, White);
  sprintf(R,"%d",adc[0]);  //adc value
  ssd1306_SetCursor(28,11);
  ssd1306_WriteString(R, Font_11x18, White);

  sprintf(R,"%d",target2);
  ssd1306_SetCursor(28,33);
  ssd1306_WriteString(R, Font_7x10, White);
  sprintf(R,"%d",adc[1]);
  ssd1306_SetCursor(28,45);
  ssd1306_WriteString(R, Font_11x18, White);
  ssd1306_SetCursor(65,45);
  heater(choise_h);

  NVIC_DisableIRQ(EXTI3_IRQn);  //external interrupt enable
  ssd1306_UpdateScreen();
  NVIC_EnableIRQ(EXTI3_IRQn);  //external interrupt enable

}

//------------------------OUT-------------------------
void Breizinheim(void)
{
  i++;
  uint8_t x;
  x=i*x_1/100;
    if (x==y1)
    {   //off
      HAL_GPIO_WritePin(GPIOB,GPIO_PIN_1, GPIO_PIN_RESET);
    }
    else
    {   //on
      HAL_GPIO_WritePin(GPIOB,GPIO_PIN_1, GPIO_PIN_SET);
    }
  y1=x;
  x=i*x_2/100;
    if (x==y2)
    {   //off
      HAL_GPIO_WritePin(GPIOB,GPIO_PIN_0, GPIO_PIN_RESET);
      HAL_GPIO_WritePin(GPIOB,GPIO_PIN_10, GPIO_PIN_RESET);
    }
    else
    {   //on
      HAL_GPIO_WritePin(GPIOB,GPIO_PIN_0, GPIO_PIN_SET);
      if (choise_h){HAL_GPIO_WritePin(GPIOB,GPIO_PIN_10, GPIO_PIN_SET);}
    }
  y2=x;
  if (i==100)
  {
    i=0; y1=0; y2=0;x_1=X1;x_2=X2;
  }
}

//-------------------------interrupt-----------------------

void EXTI3_IRQHandler(void)
{
    HAL_GPIO_EXTI_IRQHandler(GPIO_PIN_3);
    HAL_GPIO_TogglePin(GPIOC,GPIO_PIN_13);
    Breizinheim();
}

//-------------------------screen10------------------------
void screen10() {

  ssd1306_Fill(Black);
  ssd1306_SetCursor(0,0);
  ssd1306_WriteString("ADC 1:", Font_11x18, White);
  sprintf(R,"%d",adc[0]);
  ssd1306_WriteString(R, Font_11x18, White);
  ssd1306_SetCursor(0, 18);
  ssd1306_WriteString("PID ", Font_16x26, White);
  sprintf(R,"%d",X1);
  ssd1306_WriteString(R, Font_16x26, White);
  ssd1306_SetCursor(0, 45);
  ssd1306_WriteString("ADC 2:", Font_11x18, White);
  sprintf(R,"%d",adc[1]);
  ssd1306_WriteString(R, Font_11x18, White);
  ssd1306_UpdateScreen();
}

/* USER CODE END 4 */

void Error_Handler(void)
{
  while(1)
  {
  }
}

/************************ (C) COPYRIGHT STMicroelectronics *****END OF FILE****/
